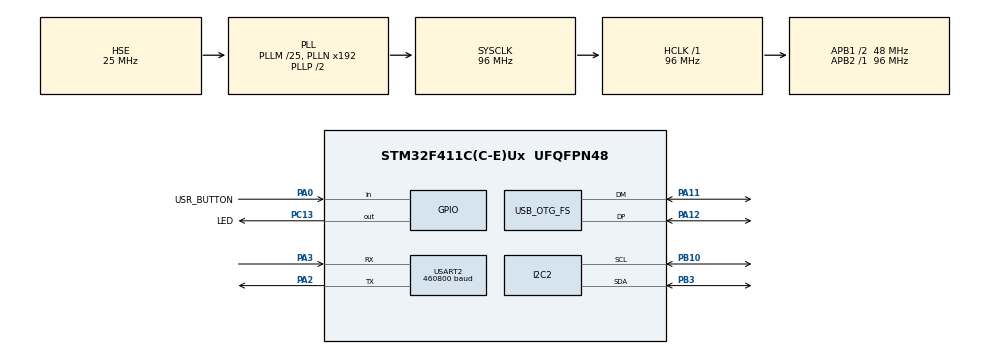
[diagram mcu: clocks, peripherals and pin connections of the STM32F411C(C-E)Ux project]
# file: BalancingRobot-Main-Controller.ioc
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Dma.Request0=USART2_TX
Dma.USART2_TX.0.Direction=DMA_MEMORY_TO_PERIPH
Dma.USART2_TX.0.FIFOMode=DMA_FIFOMODE_DISABLE
Dma.USART2_TX.0.Instance=DMA1_Stream6
Dma.USART2_TX.0.MemDataAlignment=DMA_MDATAALIGN_BYTE
Dma.USART2_TX.0.MemInc=DMA_MINC_ENABLE
Dma.USART2_TX.0.Mode=DMA_NORMAL
Dma.USART2_TX.0.PeriphDataAlignment=DMA_PDATAALIGN_BYTE
Dma.USART2_TX.0.PeriphInc=DMA_PINC_DISABLE
Dma.USART2_TX.0.Priority=DMA_PRIORITY_LOW
I2C2.I2C_Mode=I2C_Fast
Mcu.Family=STM32F4
Mcu.Name=STM32F411C(C-E)Ux
Mcu.Package=UFQFPN48
NVIC.DMA1_Stream6_IRQn=true\:1\:0\:true\:false\:true\:false\:true\:true
NVIC.OTG_FS_IRQn=true\:2\:0\:true\:false\:true\:false\:true\:true
NVIC.PriorityGroup=NVIC_PRIORITYGROUP_4
NVIC.TIM3_IRQn=true\:0\:0\:false\:false\:true\:true\:true\:true
NVIC.USART2_IRQn=true\:0\:0\:false\:false\:true\:true\:true\:true
PA0-WKUP.GPIO_Label=USR_BUTTON
PA0-WKUP.GPIO_PuPd=GPIO_PULLUP
PA0-WKUP.Signal=GPIO_Input
PA11.Mode=Device_Only
PA11.Signal=USB_OTG_FS_DM
PA12.Mode=Device_Only
PA12.Signal=USB_OTG_FS_DP
PA2.Mode=Asynchronous
PA2.Signal=USART2_TX
PA3.Mode=Asynchronous
PA3.Signal=USART2_RX
PB10.Mode=I2C
PB10.Signal=I2C2_SCL
PB3.Mode=I2C
PB3.Signal=I2C2_SDA
PC13-ANTI_TAMP.GPIO_Label=LED
PC13-ANTI_TAMP.PinState=GPIO_PIN_SET
PC13-ANTI_TAMP.Signal=GPIO_Output
PC14-OSC32_IN.Mode=LSE-External-Oscillator
PC14-OSC32_IN.Signal=RCC_OSC32_IN
PC15-OSC32_OUT.Mode=LSE-External-Oscillator
PC15-OSC32_OUT.Signal=RCC_OSC32_OUT
PH0\ -\ OSC_IN.Mode=HSE-External-Oscillator
PH0\ -\ OSC_IN.Signal=RCC_OSC_IN
PH1\ -\ OSC_OUT.Mode=HSE-External-Oscillator
PH1\ -\ OSC_OUT.Signal=RCC_OSC_OUT
ProjectManager.HeapSize=0x200
ProjectManager.StackSize=0x400
ProjectManager.TargetToolchain=CMake
RCC.48MHZClocksFreq_Value=48000000
RCC.AHBFreq_Value=96000000
RCC.APB1CLKDivider=RCC_HCLK_DIV2
RCC.APB1Freq_Value=48000000
RCC.APB1TimFreq_Value=96000000
RCC.APB2Freq_Value=96000000
RCC.APB2TimFreq_Value=96000000
RCC.CortexFreq_Value=96000000
RCC.HCLKFreq_Value=96000000
RCC.HSE_VALUE=25000000
RCC.HSI_VALUE=16000000
RCC.PLLM=25
RCC.SYSCLKFreq_VALUE=96000000
RCC.SYSCLKSource=RCC_SYSCLKSOURCE_PLLCLK
RCC.VCOOutputFreq_Value=192000000
TIM3.Period=5000-1
TIM3.Prescaler=96 - 1
USART2.BaudRate=460800
USART2.VirtualMode=VM_ASYNC
USB_DEVICE.CLASS_NAME_FS=CDC
USB_DEVICE.VirtualMode=Cdc
USB_DEVICE.VirtualModeFS=Cdc_FS
USB_OTG_FS.VirtualMode=Device_Only
VP_RTC_VS_RTC_Activate.Mode=RTC_Enabled
VP_TIM3_VS_ClockSourceINT.Mode=Internal
VP_USB_DEVICE_VS_USB_DEVICE_CDC_FS.Mode=CDC_FS
board=custom

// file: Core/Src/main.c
/* USER CODE BEGIN Header */
/**
  ******************************************************************************
  * @file           : main.c
  * @brief          : Main program body
  ******************************************************************************
  * @attention
  *
  * Copyright (c) 2026 STMicroelectronics.
  * All rights reserved.
  *
  * This software is licensed under terms that can be found in the LICENSE file
  * in the root directory of this software component.
  * If no LICENSE file comes with this software, it is provided AS-IS.
  *
  ******************************************************************************
  */
/* USER CODE END Header */
#include "main.h"
#include "dma.h"
#include "i2c.h"
#include "rtc.h"
#include "tim.h"
#include "usart.h"
#include "usb_device.h"
#include "gpio.h"

/* USER CODE BEGIN Includes */
#include <stdint.h>
#include "usbd_cdc_if.h"
#include "dualFOC_communication.h"
#include "robot_app.h"
#include "IO/button.h"
#include "config.h"
#include "diag.h" // for uart error counter
#include "pc_command.h"

/* USER CODE END Includes */

/* USER CODE BEGIN PTD */

#define USB_BLOCK_SIZE 0x200	//512 bytes

/* USER CODE END PTD */

/* USER CODE BEGIN PV */
volatile uint8_t loop_flag;

/* USER CODE END PV */

void SystemClock_Config(void);

/* USER CODE BEGIN 0 */
// _write override for the printf funct
int _write(int file, char *ptr, int len) {
    CDC_Transmit_FS((uint8_t*) ptr, len);
    return len;
}

/* USER CODE END 0 */

int main(void)
{

  /* MCU Configuration--------------------------------------------------------*/

  /* Reset of all peripherals, Initializes the Flash interface and the Systick. */
  HAL_Init();

  /* Configure the system clock */
  SystemClock_Config();

  /* Initialize all configured peripherals */
  MX_GPIO_Init();
  MX_DMA_Init();
  MX_I2C2_Init();
  MX_RTC_Init();
  MX_TIM3_Init();
  MX_USART2_UART_Init();
  MX_USB_DEVICE_Init();
  /* USER CODE BEGIN 2 */
  HAL_TIM_Base_Start_IT(&LOOP_TIMER);
  if (TIM_PERIOD_REG_VAL != LOOP_TIME) {
    /*  ERROR - WRONG LOOP TIME VALUE  */
    return -1;
  }

  RobotInit();
  HAL_UART_Receive_IT(&MOT1_UART, rxRawBuffer, 1);
  /* USER CODE END 2 */

  /* Infinite loop */
  /* USER CODE BEGIN WHILE */

  while (1)
  {
    ButtonUpdate();
    RobotLog(RobotUpdate());
    /* USER CODE END WHILE */

  }
}

void SystemClock_Config(void)
{
  RCC_OscInitTypeDef RCC_OscInitStruct = {0};
  RCC_ClkInitTypeDef RCC_ClkInitStruct = {0};

  /** Configure the main internal regulator output voltage
  */
  __HAL_RCC_PWR_CLK_ENABLE();
  __HAL_PWR_VOLTAGESCALING_CONFIG(PWR_REGULATOR_VOLTAGE_SCALE1);

  /** Initializes the RCC Oscillators according to the specified parameters
  * in the RCC_OscInitTypeDef structure.
  */
  RCC_OscInitStruct.OscillatorType = RCC_OSCILLATORTYPE_LSI|RCC_OSCILLATORTYPE_HSE;
  RCC_OscInitStruct.HSEState = RCC_HSE_ON;
  RCC_OscInitStruct.LSIState = RCC_LSI_ON;
  RCC_OscInitStruct.PLL.PLLState = RCC_PLL_ON;
  RCC_OscInitStruct.PLL.PLLSource = RCC_PLLSOURCE_HSE;
  RCC_OscInitStruct.PLL.PLLM = 25;
  RCC_OscInitStruct.PLL.PLLN = 192;
  RCC_OscInitStruct.PLL.PLLP = RCC_PLLP_DIV2;
  RCC_OscInitStruct.PLL.PLLQ = 4;
  if (HAL_RCC_OscConfig(&RCC_OscInitStruct) != HAL_OK)
  {
    Error_Handler();
  }

  /** Initializes the CPU, AHB and APB buses clocks
  */
  RCC_ClkInitStruct.ClockType = RCC_CLOCKTYPE_HCLK|RCC_CLOCKTYPE_SYSCLK
                              |RCC_CLOCKTYPE_PCLK1|RCC_CLOCKTYPE_PCLK2;
  RCC_ClkInitStruct.SYSCLKSource = RCC_SYSCLKSOURCE_PLLCLK;
  RCC_ClkInitStruct.AHBCLKDivider = RCC_SYSCLK_DIV1;
  RCC_ClkInitStruct.APB1CLKDivider = RCC_HCLK_DIV2;
  RCC_ClkInitStruct.APB2CLKDivider = RCC_HCLK_DIV1;

  if (HAL_RCC_ClockConfig(&RCC_ClkInitStruct, FLASH_LATENCY_3) != HAL_OK)
  {
    Error_Handler();
  }
}

/* USER CODE BEGIN 4 */

void HAL_TIM_PeriodElapsedCallback(TIM_HandleTypeDef *htim)
{
    if (htim->Instance == TIM3)
    {
      if (loop_flag) diag.loop_overrun_count++; // last tick has not yet been handled
      loop_flag = 1; // Set main loop flag
    }
}

void HAL_UART_RxCpltCallback(UART_HandleTypeDef *huart)
{
  if (huart->Instance == USART2) {
    processRxPacket(huart);
  } // if USART2
}

void HAL_UART_ErrorCallback(UART_HandleTypeDef *huart) {
  if (huart->Instance == USART2) {
    diag.uart_error_count++;
    HAL_UART_AbortReceive(huart); // clear HAL state and flags
    processRxReset();
    HAL_UART_Receive_IT(huart, rxRawBuffer, 1);
  }
}

// USB RX
void USB_CDC_RxHandler(uint8_t* Buf, uint32_t Len) {
  // copy only; frames are parsed in RobotUpdate()
  pcRxPush(Buf, Len);
}

/* USER CODE END 4 */

void Error_Handler(void)
{
  __disable_irq();
  while (1)
  {
  }
}
